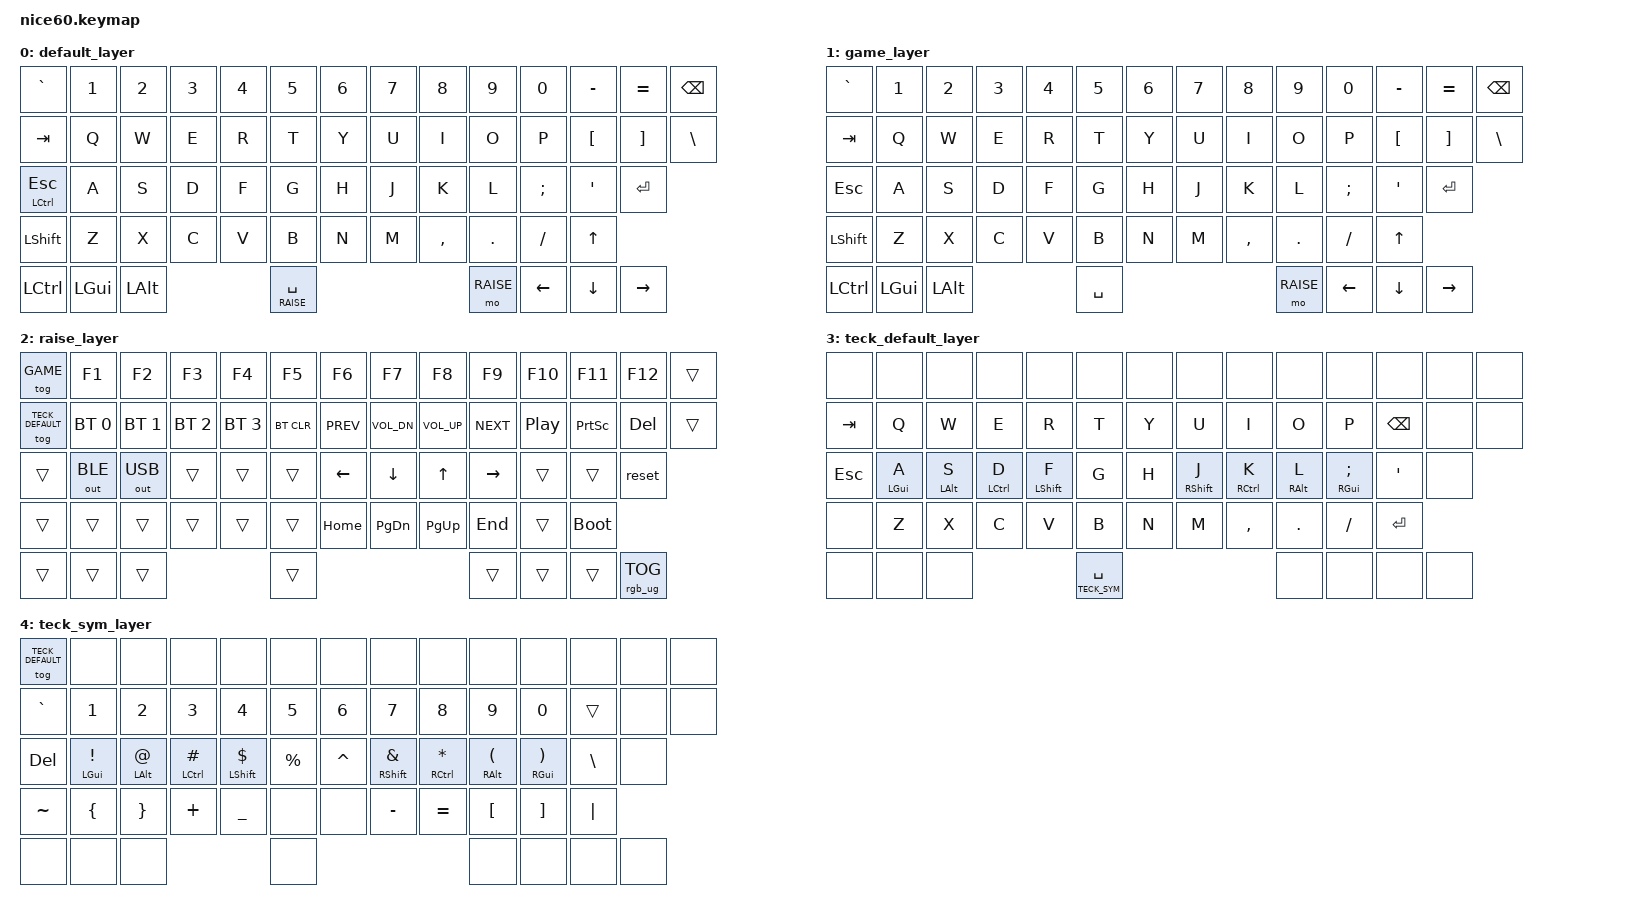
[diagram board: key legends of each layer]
/*
 * Copyright (c) 2021 Nick Winans
 *
 * SPDX-License-Identifier: MIT
 */

#include <behaviors.dtsi>
#include <dt-bindings/zmk/bt.h>
#include <dt-bindings/zmk/keys.h>
// #include <dt-bindings/zmk/mouse.h>
#include <dt-bindings/zmk/outputs.h>
#include <dt-bindings/zmk/rgb.h>

&mt {
    flavor = "hold-preferred";
};

#define DEFAULT 0
#define GAME 1
#define RAISE 2
#define TECK_DEFAULT 3
#define TECK_SYM 4
// #define TECK_MOUSE 5

/ {
    behaviors {
        hm: homerow_mods {
            compatible = "zmk,behavior-hold-tap";
            label = "HOMEROW_MODS";
            #binding-cells = <2>;
            tapping-term-ms = <150>;
            quick-tap-ms = <0>;
            flavor = "tap-preferred";
            bindings = <&kp>, <&kp>;
        };
    };

    keymap {
        compatible = "zmk,keymap";

        default_layer {
            bindings = <
&kp GRAVE     &kp N1   &kp N2   &kp N3 &kp N4 &kp N5    &kp N6 &kp N7 &kp N8    &kp N9    &kp N0   &kp MINUS &kp EQUAL &kp BSPC
&kp TAB       &kp Q    &kp W    &kp E  &kp R  &kp T     &kp Y  &kp U  &kp I     &kp O     &kp P    &kp LBKT  &kp RBKT  &kp BSLH
&mt LCTRL ESC &kp A    &kp S    &kp D  &kp F  &kp G     &kp H  &kp J  &kp K     &kp L     &kp SEMI &kp SQT   &kp RET
&kp LSHFT     &kp Z    &kp X    &kp C  &kp V  &kp B     &kp N  &kp M  &kp COMMA &kp DOT   &kp FSLH &kp UP
&kp LCTRL     &kp LGUI &kp LALT               &lt RAISE SPACE                   &mo RAISE &kp LEFT &kp DOWN  &kp RIGHT
            >;
        };

        // Games really do not like hold-taps
        game_layer {
            bindings = <
&kp GRAVE &kp N1   &kp N2   &kp N3 &kp N4 &kp N5    &kp N6 &kp N7 &kp N8    &kp N9    &kp N0   &kp MINUS &kp EQUAL &kp BSPC
&kp TAB   &kp Q    &kp W    &kp E  &kp R  &kp T     &kp Y  &kp U  &kp I     &kp O     &kp P    &kp LBKT  &kp RBKT  &kp BSLH
&kp ESC   &kp A    &kp S    &kp D  &kp F  &kp G     &kp H  &kp J  &kp K     &kp L     &kp SEMI &kp SQT   &kp RET
&kp LSHFT &kp Z    &kp X    &kp C  &kp V  &kp B     &kp N  &kp M  &kp COMMA &kp DOT   &kp FSLH &kp UP
&kp LCTRL &kp LGUI &kp LALT               &kp SPACE                         &mo RAISE &kp LEFT &kp DOWN  &kp RIGHT
            >;
        };

        raise_layer {
            bindings = <
&tog GAME         &kp F1       &kp F2       &kp F3       &kp F4       &kp F5     &kp F6     &kp F7       &kp F8       &kp F9      &kp F10   &kp F11     &kp F12 &trans
&tog TECK_DEFAULT &bt BT_SEL 0 &bt BT_SEL 1 &bt BT_SEL 2 &bt BT_SEL 3 &bt BT_CLR &kp C_PREV &kp C_VOL_DN &kp C_VOL_UP &kp C_NEXT  &kp C_PP  &kp PSCRN   &kp DEL &trans
&trans            &out OUT_BLE &out OUT_USB &trans       &trans       &trans     &kp LEFT   &kp DOWN     &kp UP       &kp RIGHT   &trans    &trans      &reset
&trans            &trans       &trans       &trans       &trans       &trans     &kp HOME   &kp PG_DN    &kp PG_UP    &kp END     &trans    &bootloader
&trans            &trans       &trans                                 &trans                                          &trans      &trans    &trans      &rgb_ug RGB_TOG
            >;
        };

        // Messing with layouts for my future Technikable

        teck_default_layer {
            bindings = <
&none   &none        &none        &none        &none        &none      &none      &none        &none        &none       &none         &none       &none   &none
&kp TAB &kp Q        &kp W        &kp E        &kp R        &kp T      &kp Y      &kp U        &kp I        &kp O       &kp P         &kp BSPC    &none   &none
&kp ESC &hm LGUI A   &hm LALT S   &hm LCTRL D  &hm LSHFT F  &kp G      &kp H      &hm RSHFT J  &hm RCTRL K  &hm RALT L  &hm RGUI SEMI &kp SQT     &none
&none   &kp Z        &kp X        &kp C        &kp V        &kp B      &kp N      &kp M        &kp COMMA    &kp DOT     &kp FSLH      &kp RET
&none   &none        &none                                  &lt TECK_SYM SPACE                                          &none         &none       &none   &none
            >;
        };

        teck_sym_layer {
            bindings = <
&tog TECK_DEFAULT &none         &none       &none           &none          &none     &none     &none          &none          &none         &none         &none     &none   &none
&kp GRAVE         &kp N1        &kp N2      &kp N3          &kp N4         &kp N5    &kp N6    &kp N7         &kp N8         &kp N9        &kp N0        &trans    &none   &none
&kp DEL           &hm LGUI EXCL &hm LALT AT &hm LCTRL POUND &hm LSHFT DLLR &kp PRCNT &kp CARET &hm RSHFT AMPS &hm RCTRL STAR &hm RALT LPAR &hm RGUI RPAR &kp BSLH  &none
&kp TILDE         &kp LBRC      &kp RBRC    &kp PLUS        &kp UNDER      &none     &none     &kp MINUS      &kp EQUAL      &kp LBKT      &kp RBKT      &kp PIPE
&none             &none         &none                                      &none                                             &none         &none         &none     &none
            >;
        };

//         teck_mouse_layer {
//             bindings = <
// &none     &none         &none       &none           &none          &none            &none          &none          &none          &none           &none         &none     &none   &none
// &none     &none         &none       &none           &none          &none            &none          &none          &none          &none           &none         &none     &none   &none
// &none     &none         &mkp RCLK   &mkp MCLK       &mkp LCLK      &mwh SCROLL_UP   &mmv MOVE_LEFT &mmv MOVE_DOWN &mmv MOVE_UP   &mmv MOVE_RIGHT &none         &none     &none
// &none     &none         &none       &none           &none          &mwh SCROLL_DOWN &none          &none          &none          &none           &none         &none
// &none     &none         &none                                      &none                                                         &none           &none         &none     &none
//             >;
//         };
    };
};
